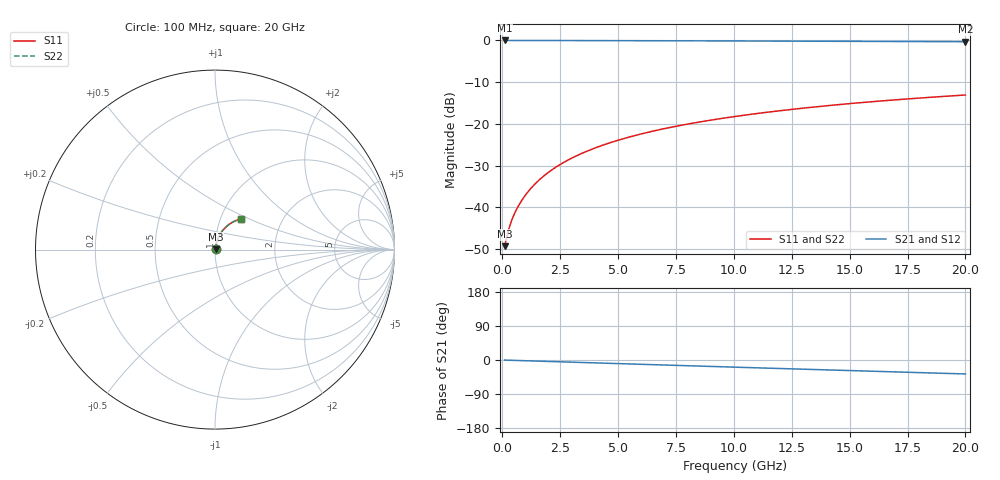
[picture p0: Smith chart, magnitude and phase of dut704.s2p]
! Touchstone file exported from HFSS 2026.1.0
!  File:  C:/ffzhzh/LocalFiles/Ansys_Project_Files/temp_train_BSMRDL_704_1783168070_55132.aedt
!  Generated:  08:29:01 PM Jul  4, 2026
!  Design:  BSMRDL
!  Project:  temp_train_BSMRDL_704_1783168070_55132
! Variables:
!  h_bsmrdl = 3.17um
!  h_ox = 20um
!  h_rdl = 5um
!  h_sub = 80um
!  h_tmrdl = 5um
!  h_tsv = 80um
!  h_via = 3um
!  l_bsmrdl = 597.01um
!  l_sub = 997.01um
!  l_tmrdl = 200um
!  m_sub = 200um
!  pitch = 36.59um
!  r_tsv = 6um
!  s_tmrdl = 10um
!  w_bsmrdl = 24.06um
!  w_sub = 500um
!  w_tmrdl = 12um
!  x_tsv_center1 = 206um
!  x_tsv_center2 = 827.07um
!  x_tsv_center3 = 1039.07um
!  x_tsv_center4 = 1660.14um
!  x_tsv_center5 = 1872.14um
!  x_tsv_center6 = 2493.21um
# GHz S MA R 50.000000
! Terminal data exported
! Port[1] = BSM_RDL1_1_T1
! Port[2] = BSM_RDL1_1_T2
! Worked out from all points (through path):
!   200 points, 100 MHz to 20 GHz, reference 50 ohm
!   highest |S21| = -0.03 dB at 100 MHz (marker M1); lowest = -0.3 dB at 20 GHz (marker M2)
!   group delay of S21, straight-line fit = 5.11 ps
!   lowest |S11| = -49.3 dB at 100 MHz (marker M3), VSWR 1.01, Z = 50.3 + j0.163 ohm
!   |S11| at or under -10 dB: start of sweep to end of sweep
!   |S22| runs from -49.3 to -13.1 dB; largest |S21 - S12| = 3.7e-15
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0.1  0.003444 28.0  0.997 -0.2  0.997 -0.2  0.003444 28.0
! Gamma 0 0 0 0
! Port Impedance 50 0 50 0
0.2  0.004521 43.9  0.9968 -0.4  0.9968 -0.4  0.004521 43.9
0.3  0.005732 52.2  0.9965 -0.6  0.9965 -0.6  0.005732 52.2
0.4  0.006938 57.2  0.9963 -0.8  0.9963 -0.8  0.006937 57.2
0.5  0.008124 60.8  0.9961 -1.0  0.9961 -1.0  0.008123 60.8
0.6  0.009301 63.6  0.996 -1.2  0.996 -1.2  0.009301 63.6
0.8  0.01167 67.6  0.9958 -1.6  0.9958 -1.6  0.01166 67.6
1  0.01406 70.4  0.9957 -1.9  0.9957 -1.9  0.01406 70.4
1.2  0.0165 72.4  0.9955 -2.3  0.9955 -2.3  0.0165 72.4
1.7  0.02268 75.2  0.9952 -3.3  0.9952 -3.3  0.02268 75.2
2.2  0.02894 76.4  0.9949 -4.2  0.9949 -4.2  0.02893 76.4
2.8  0.03647 76.8  0.9944 -5.4  0.9944 -5.4  0.03646 76.9
3.5  0.04523 76.6  0.9938 -6.7  0.9938 -6.7  0.04523 76.6
4.2  0.05393 76.0  0.993 -8.0  0.993 -8.0  0.05393 76.0
5  0.06377 75.0  0.992 -9.5  0.992 -9.5  0.06377 75.0
5.9  0.07469 73.7  0.9907 -11.2  0.9907 -11.2  0.07469 73.8
6.8  0.08544 72.3  0.9893 -12.9  0.9893 -12.9  0.08543 72.3
8.3  0.1029 69.9  0.9867 -15.7  0.9867 -15.7  0.1029 69.9
10.1  0.1233 66.8  0.9834 -19.0  0.9834 -19.0  0.1233 66.8
13.4  0.1587 61.2  0.9768 -25.1  0.9768 -25.1  0.1587 61.2
16.7  0.1916 55.6  0.9698 -31.0  0.9698 -31.0  0.1915 55.6
20  0.2218 50.0  0.9625 -36.8  0.9625 -36.8  0.2217 50.0
